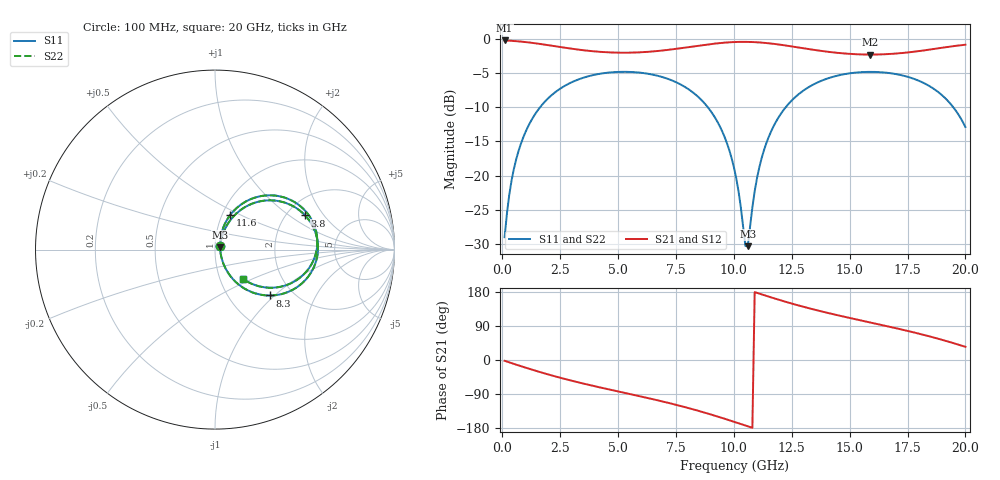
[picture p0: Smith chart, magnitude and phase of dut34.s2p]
! Touchstone file exported from HFSS 2026.1.0
!  File:  C:/ffzhzh/LocalFiles/Ansys_Project_Files/temp_train_TSV_RDL_34_1782964551_45748.aedt
!  Generated:  12:09:46 PM Jul  2, 2026
!  Design:  TSV_RDL
!  Project:  temp_train_TSV_RDL_34_1782964551_45748
! Variables:
!  h_bsmrdl = 2.57um
!  h_ox = 20um
!  h_rdl = 5um
!  h_sub = 59.45um
!  h_tmrdl = 4.49um
!  h_tsv = 59.45um
!  h_via = 3um
!  l_bsmrdl = 562.13um
!  l_sub = 5660.63um
!  l_tmrdl = 864.31um
!  m_sub = 200um
!  pitch = 51.14um
!  r_tsv = 14.55um
!  s_tmrdl = 10um
!  w_bsmrdl = 23.13um
!  w_sub = 500um
!  w_tmrdl = 15.87um
!  x_tsv_center1 = 872.245um
!  x_tsv_center2 = 1457.505um
!  x_tsv_center3 = 2337.685um
!  x_tsv_center4 = 2922.945um
!  x_tsv_center5 = 3803.125um
!  x_tsv_center6 = 4388.385um
# GHz S MA R 50.000000
! Terminal data exported
! Port[1] = TM_RDL1_1_T1
! Port[2] = TM_RDL5_1_T1
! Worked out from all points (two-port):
!   200 points, 100 MHz to 20 GHz, reference 50 ohm
!   highest |S21| = -0.24 dB at 100 MHz (marker M1); lowest = -2.3 dB at 15.9 GHz (marker M2)
!   |S21| within 3 dB of the highest: start of sweep to end of sweep
!   lowest |S11| = -30.3 dB at 10.6 GHz (marker M3), VSWR 1.06, Z = 52.9 + j1.25 ohm
!   |S11| at or under -10 dB: start of sweep to 1.633 GHz; 8.875 GHz to 12.24 GHz (3.366 GHz wide, 31.9 % of centre); 19.48 GHz to end of sweep
!   |S22| runs from -30.4 to -4.8 dB; largest |S21 - S12| = 1.6e-14
!   S11 on the Smith chart (normalised r, x): 100 MHz: 1.06, +0.05; 3.8 GHz: 2.51, +1.34; 8.3 GHz: 1.53, -0.93; 11.6 GHz: 1.09, +0.44; 20 GHz: 1.29, -0.44
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0.1  0.03552 37.5  0.9724 -2.1  0.9724 -2.1  0.03552 37.5
! Gamma 0 0 0 0
! Port Impedance 50 0 50 0
0.3  0.07236 60.0  0.9687 -6.3  0.9687 -6.3  0.07236 60.0
0.5  0.112 63.9  0.9637 -10.3  0.9637 -10.3  0.112 63.9
1.1  0.2263 59.9  0.9425 -22.0  0.9425 -22.0  0.2263 59.9
2.1  0.3837 45.2  0.8922 -40.2  0.8922 -40.2  0.3837 45.2
3.5  0.5195 24.8  0.8251 -62.2  0.8251 -62.2  0.5195 24.8
3.8  0.537 20.7  0.8146 -66.5  0.8146 -66.5  0.537 20.7
5.3  0.5739 1.2  0.7911 -87.0  0.7911 -87.0  0.5739 1.2
6.8  0.532 -18.4  0.8173 -107.7  0.8173 -107.7  0.532 -18.4
8.3  0.3973 -40.1  0.8819 -131.2  0.8819 -131.2  0.3973 -40.1
9.4  0.2284 -56.3  0.9307 -151.1  0.9307 -151.1  0.2284 -56.4
10.1  0.09648 -59.5  0.9478 -164.9  0.9478 -164.9  0.09639 -59.7
10.5  0.03068 -14.6  0.9496 -172.9  0.9496 -172.9  0.03035 -14.9
10.6  0.03056 22.6  0.9491 -174.9  0.9491 -174.9  0.03022 22.8
11  0.09594 68.1  0.9431 177.1  0.9431 177.1  0.09582 68.3
11.6  0.209 66.3  0.9236 165.4  0.9236 165.4  0.2089 66.4
12.4  0.3401 55.2  0.8851 150.7  0.8851 150.7  0.34 55.2
13.4  0.4604 40.5  0.8329 134.1  0.8329 134.1  0.4604 40.5
15.9  0.5733 7.8  0.767 98.9  0.767 98.9  0.5733 7.8
16.7  0.5624 -2.2  0.7739 88.1  0.7739 88.1  0.5624 -2.2
18.7  0.4235 -29.0  0.8456 58.2  0.8456 58.2  0.4235 -29.1
20  0.2267 -46.2  0.9052 34.7  0.9052 34.7  0.2267 -46.4
